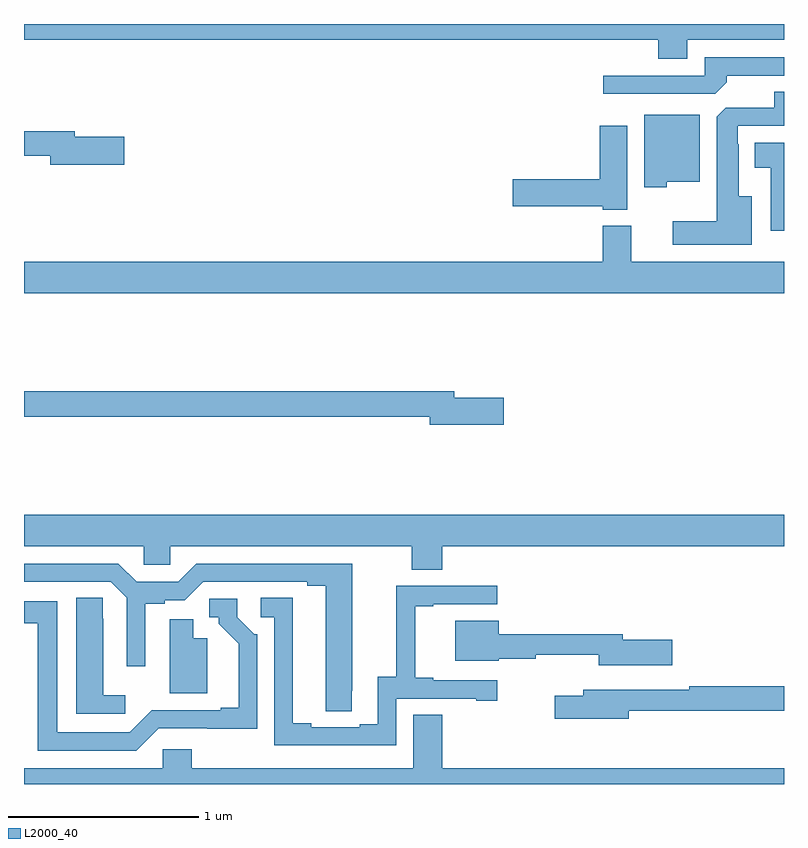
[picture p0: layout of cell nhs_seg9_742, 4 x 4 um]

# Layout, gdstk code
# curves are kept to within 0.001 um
import gdstk
lib = gdstk.Library(unit=1e-6, precision=1e-09)
def P(c, l, *ps):  # polygons
    for p in ps: c.add(gdstk.Polygon(p, *l))
L2000_40 = (2000, 40)

nhs_seg9_742 = lib.new_cell('nhs_seg9_742')
P(nhs_seg9_742, L2000_40, [(152.491,1200.416),(153,1200.416),(153,1200.5),(149,1200.5),(149,1200.416),(152.339,1200.416),(152.339,1200.317),(152.491,1200.317)],
  [(152.699,1200.194),(152.699,1200.228),(153,1200.228),(153,1200.324),(152.583,1200.324),(152.583,1200.228),(152.049,1200.228),(152.049,1200.132),(152.637,1200.132)],
  [(152.83,1199.593),(152.761,1199.593),(152.761,1199.867),(152.757,1199.867),(152.757,1199.964),(153,1199.964),(153,1200.143),(152.948,1200.143),(152.948,1200.06),(152.694,1200.06),(152.645,1200.011),(152.645,1199.461),(152.415,1199.461),(152.415,1199.339),(152.83,1199.339)],
  [(152.382,1199.669),(152.557,1199.669),(152.557,1200.022),(152.264,1200.022),(152.264,1199.642),(152.382,1199.642)],
  [(152.176,1199.965),(152.03,1199.965),(152.03,1199.684),(151.572,1199.684),(151.572,1199.542),(152.046,1199.542),(152.046,1199.522),(152.176,1199.522)],
  [(149.527,1199.906),(149.266,1199.906),(149.266,1199.935),(149,1199.935),(149,1199.806),(149.138,1199.806),(149.138,1199.759),(149.527,1199.759)],
  [(153,1199.875),(152.846,1199.875),(152.846,1199.744),(152.93,1199.744),(152.93,1199.412),(153,1199.412)],
  [(153,1199.248),(152.197,1199.248),(152.197,1199.437),(152.045,1199.437),(152.045,1199.248),(149,1199.248),(149,1199.084),(153,1199.084)],
  [(151.525,1198.532),(151.264,1198.532),(151.264,1198.568),(149,1198.568),(149,1198.432),(151.136,1198.432),(151.136,1198.39),(151.525,1198.39)],
  [(151.202,1197.752),(153,1197.752),(153,1197.916),(149,1197.916),(149,1197.752),(149.631,1197.752),(149.631,1197.654),(149.769,1197.654),(149.769,1197.752),(151.042,1197.752),(151.042,1197.628),(151.202,1197.628)],
  [(150.726,1196.992),(150.727,1197.66),(149.907,1197.66),(149.811,1197.564),(149.593,1197.564),(149.497,1197.66),(149,1197.66),(149,1197.564),(149.457,1197.564),(149.541,1197.48),(149.541,1197.12),(149.638,1197.12),(149.638,1197.448),(149.742,1197.448),(149.742,1197.468),(149.847,1197.468),(149.943,1197.564),(150.491,1197.564),(150.491,1197.544),(150.587,1197.544),(150.587,1196.884),(150.726,1196.884)],
  [(150.96,1196.949),(151.379,1196.949),(151.379,1196.937),(151.492,1196.937),(151.492,1197.045),(151.153,1197.045),(151.153,1197.058),(151.058,1197.058),(151.058,1197.435),(151.153,1197.435),(151.153,1197.447),(151.492,1197.447),(151.492,1197.543),(150.958,1197.543),(150.958,1197.065),(150.863,1197.065),(150.863,1196.814),(150.767,1196.814),(150.767,1196.799),(150.511,1196.799),(150.511,1196.819),(150.415,1196.819),(150.415,1197.479),(150.246,1197.479),(150.246,1197.378),(150.318,1197.378),(150.318,1196.703),(150.96,1196.703)],
  [(149.533,1196.968),(149.416,1196.968),(149.416,1197.371),(149.415,1197.371),(149.415,1197.479),(149.276,1197.479),(149.276,1196.871),(149.533,1196.871)],
  [(149.709,1196.793),(150.228,1196.792),(150.228,1197.288),(150.213,1197.288),(150.123,1197.378),(150.123,1197.474),(149.976,1197.474),(149.976,1197.378),(150.026,1197.378),(150.026,1197.343),(150.131,1197.238),(150.131,1196.902),(150.035,1196.902),(150.035,1196.889),(149.673,1196.889),(149.556,1196.772),(149.176,1196.772),(149.176,1197.462),(149,1197.462),(149,1197.346),(149.072,1197.346),(149.072,1196.676),(149.592,1196.676)],
  [(149.965,1197.268),(149.89,1197.268),(149.89,1197.367),(149.768,1197.367),(149.768,1196.978),(149.965,1196.978)],
  [(152.413,1197.26),(152.152,1197.26),(152.152,1197.289),(151.498,1197.289),(151.498,1197.358),(151.271,1197.358),(151.271,1197.149),(151.498,1197.149),(151.498,1197.16),(151.694,1197.16),(151.694,1197.179),(152.024,1197.179),(152.024,1197.125),(152.413,1197.125)],
  [(152.182,1196.886),(153,1196.886),(153,1197.014),(152.5,1197.014),(152.5,1196.995),(151.943,1196.995),(151.943,1196.965),(151.794,1196.965),(151.794,1196.843),(152.182,1196.843)],
  [(153,1196.584),(151.202,1196.584),(151.202,1196.864),(151.049,1196.864),(151.049,1196.584),(149.882,1196.584),(149.882,1196.682),(149.73,1196.682),(149.73,1196.584),(149,1196.584),(149,1196.5),(153,1196.5)])

lib.write_gds('nhs_seg9_742.gds')
